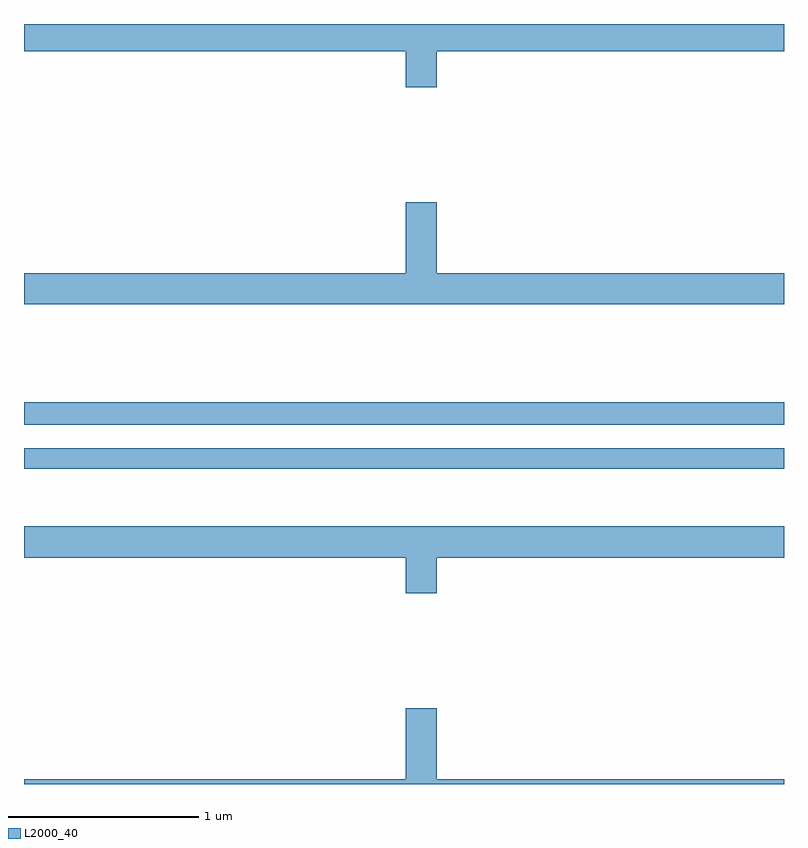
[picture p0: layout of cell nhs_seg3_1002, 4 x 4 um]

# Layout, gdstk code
import gdstk
lib = gdstk.Library(unit=1e-6, precision=1e-09)
def R(c, l, rs):  # rectangles x0, y0, x1, y1
    for r in rs: c.add(gdstk.rectangle(r[:2], r[2:], *l))
def P(c, l, *ps):  # polygons
    for p in ps: c.add(gdstk.Polygon(p, *l))
L2000_40 = (2000, 40)

nhs_seg3_1002 = lib.new_cell('nhs_seg3_1002')
R(nhs_seg3_1002, L2000_40, [(163,692.058,167,692.166), (163,692.292,167,692.408)])
P(nhs_seg3_1002, L2000_40, [(165.172,694.256),(167,694.256),(167,694.4),(163,694.4),(163,694.256),(165.008,694.256),(165.008,694.068),(165.172,694.068)],
  [(167,693.088),(165.172,693.088),(165.172,693.463),(165.008,693.463),(165.008,693.088),(163,693.088),(163,692.924),(167,692.924)],
  [(165.172,691.592),(167,691.592),(167,691.756),(163,691.756),(163,691.592),(165.008,691.592),(165.008,691.404),(165.172,691.404)],
  [(167,690.424),(165.172,690.424),(165.172,690.799),(165.008,690.799),(165.008,690.424),(163,690.424),(163,690.4),(167,690.4)])

lib.write_gds('nhs_seg3_1002.gds')
